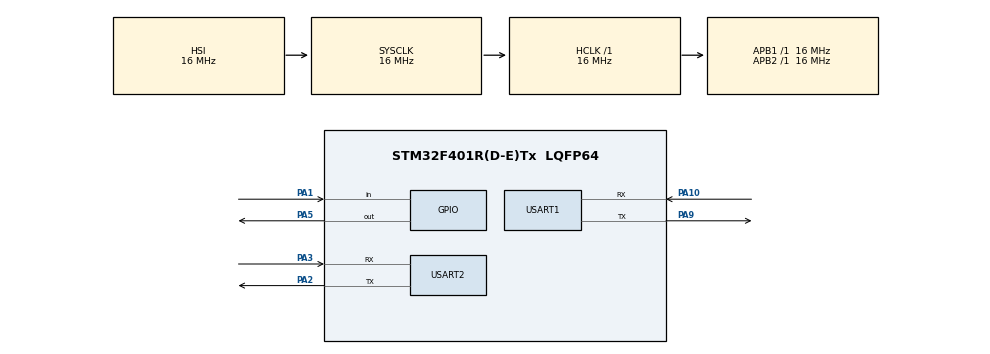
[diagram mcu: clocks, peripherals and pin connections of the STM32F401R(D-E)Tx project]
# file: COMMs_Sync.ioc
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Mcu.Family=STM32F4
Mcu.Name=STM32F401R(D-E)Tx
Mcu.Package=LQFP64
NVIC.PriorityGroup=NVIC_PRIORITYGROUP_4
PA1.Signal=GPIO_Input
PA10.Mode=Asynchronous
PA10.Signal=USART1_RX
PA2.Mode=Asynchronous
PA2.Signal=USART2_TX
PA3.Mode=Asynchronous
PA3.Signal=USART2_RX
PA5.Signal=GPIO_Output
PA9.Mode=Asynchronous
PA9.Signal=USART1_TX
ProjectManager.HeapSize=0x200
ProjectManager.StackSize=0x400
ProjectManager.TargetToolchain=SW4STM32
RCC.AHBFreq_Value=16000000
RCC.APB1Freq_Value=16000000
RCC.APB2Freq_Value=16000000
RCC.CortexFreq_Value=16000000
RCC.HSE_VALUE=25000000
RCC.HSI_VALUE=16000000
RCC.LSE_VALUE=32768
RCC.SYSCLKFreq_VALUE=16000000
RCC.VCOOutputFreq_Value=192000000
USART1.VirtualMode=VM_ASYNC
USART2.VirtualMode=VM_ASYNC
board=COMMs_Sync

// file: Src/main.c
/**
  ******************************************************************************
  * File Name          : main.c
  * Description        : Main program body
  ******************************************************************************
  ** This notice applies to any and all portions of this file
  * that are not between comment pairs USER CODE BEGIN and
  * USER CODE END. Other portions of this file, whether
  * inserted by the user or by software development tools
  * are owned by their respective copyright owners.
  *
  * COPYRIGHT(c) 2018 STMicroelectronics
  *
  * Redistribution and use in source and binary forms, with or without modification,
  * are permitted provided that the following conditions are met:
  *   1. Redistributions of source code must retain the above copyright notice,
  *      this list of conditions and the following disclaimer.
  *   2. Redistributions in binary form must reproduce the above copyright notice,
  *      this list of conditions and the following disclaimer in the documentation
  *      and/or other materials provided with the distribution.
  *   3. Neither the name of STMicroelectronics nor the names of its contributors
  *      may be used to endorse or promote products derived from this software
  *      without specific prior written permission.
  *
  * THIS SOFTWARE IS PROVIDED BY THE COPYRIGHT HOLDERS AND CONTRIBUTORS "AS IS"
  * AND ANY EXPRESS OR IMPLIED WARRANTIES, INCLUDING, BUT NOT LIMITED TO, THE
  * IMPLIED WARRANTIES OF MERCHANTABILITY AND FITNESS FOR A PARTICULAR PURPOSE ARE
  * DISCLAIMED. IN NO EVENT SHALL THE COPYRIGHT HOLDER OR CONTRIBUTORS BE LIABLE
  * FOR ANY DIRECT, INDIRECT, INCIDENTAL, SPECIAL, EXEMPLARY, OR CONSEQUENTIAL
  * DAMAGES (INCLUDING, BUT NOT LIMITED TO, PROCUREMENT OF SUBSTITUTE GOODS OR
  * SERVICES; LOSS OF USE, DATA, OR PROFITS; OR BUSINESS INTERRUPTION) HOWEVER
  * CAUSED AND ON ANY THEORY OF LIABILITY, WHETHER IN CONTRACT, STRICT LIABILITY,
  * OR TORT (INCLUDING NEGLIGENCE OR OTHERWISE) ARISING IN ANY WAY OUT OF THE USE
  * OF THIS SOFTWARE, EVEN IF ADVISED OF THE POSSIBILITY OF SUCH DAMAGE.
  *
  ******************************************************************************
  */
#include "main.h"
#include "stm32f4xx_hal.h"
#include <stdlib.h>
#include <string.h>

UART_HandleTypeDef huart1;
UART_HandleTypeDef huart2;

/* USER CODE BEGIN PV */
/* Private variables ---------------------------------------------------------*/

//Definition for boolean variables used in conditional statements
#define TRUE 1
#define FALSE 0

//Standard definition for data buffer
#define PACKET_SIZE 256 // bytes
#define BYTE_SIZE 8 // number of bits in a byte

//Timeout used in Serial communication transmitting and receiving
#define timeOut 0x0FFF

//Structure declaring board settings, allows each board to keep track of other boards.
struct board {
	uint8_t data[PACKET_SIZE];
	char letter;
}STM_A, STM_B, STM_C;

/* USER CODE END PV */

void SystemClock_Config(void);
static void MX_GPIO_Init(void);
static void MX_USART1_UART_Init(void);
static void MX_USART2_UART_Init(void);

/* USER CODE BEGIN PFP */
/* Private function prototypes -----------------------------------------------*/
#define CHECK_BIT(var,pos) ((var) & (1<<(pos)))
void printStringToConsole(uint8_t message[]);
void clearArray(uint8_t *buf);
void print_buffer(uint8_t *buf, int size);
uint8_t receive_packet(uint8_t *buf);
//uint8_t mram_packet(uint8_t *pointer, uint8_t *mram_pointer);
uint8_t check_start_protocol(uint8_t *buf);
void get_address(uint8_t *buf, uint8_t *adr);
void check_flag(uint8_t *buf, uint8_t *flg);
void get_lengthCommand(uint8_t *buf, uint8_t *len_command);
void save_data (uint8_t *buf, uint8_t *data, uint8_t *length_command);
void save_command (uint8_t * buf, uint8_t *data, uint8_t *len_command);
uint8_t parse_packet(uint8_t *buf, uint8_t *adr, uint8_t *flg, uint8_t *len_command, uint8_t *data, int packet_legnth);
/* USER CODE END PFP */

int main(void)
{

  /* MCU Configuration----------------------------------------------------------*/

  /* Reset of all peripherals, Initializes the Flash interface and the Systick. */
  HAL_Init();

  /* Configure the system clock */
  SystemClock_Config();

  /* Initialize all configured peripherals */
  MX_GPIO_Init();
  MX_USART1_UART_Init();
  MX_USART2_UART_Init();

  /* USER CODE BEGIN 2 */
  //Allocating 256 bytes of memory for received packets.
  uint8_t check;
  // COMMs_Sync Pointers
  uint8_t * address;
//  address = (uint8_t)1;
  uint8_t * c_d_flag;
//  c_d_flag = address + 1;
  uint8_t * length_command;
//  length_command = c_d_flag + 1;
  uint8_t * buffer;
//  buffer = length_command + 1;
  buffer = (uint8_t*) malloc (PACKET_SIZE);
  uint8_t * data;
//  data = 1000;
  data = (uint8_t*) malloc (PACKET_SIZE);
  // Start the program with the light turned off.
//  HAL_GPIO_WritePin(LD2_GPIO_Port, LD2_Pin, RESET);   /* USER CODE END 2 */

  /* Infinite loop */
  while (1)
  {
  /* USER CODE BEGIN 3 */
    check = receive_packet(buffer);
    // Turns on light if the receive packet function signals that it received a packet.
    if (check == 1) {
    	parse_packet(buffer, address, c_d_flag, length_command, data, PACKET_SIZE);
    	print_buffer(*address, 1);

    	break;
//      HAL_GPIO_WritePin(LD2_GPIO_Port, LD2_Pin, SET); // Note: had to manually configure the LD2 pin in the configuration part of this file.
    }

   // Template for main functionality and example for how this code will function.

  }
  /* USER CODE END 3 */

}

/** System Clock Configuration
*/
void SystemClock_Config(void)
{

  RCC_OscInitTypeDef RCC_OscInitStruct;
  RCC_ClkInitTypeDef RCC_ClkInitStruct;

    /**Configure the main internal regulator output voltage
    */
  __HAL_RCC_PWR_CLK_ENABLE();

  __HAL_PWR_VOLTAGESCALING_CONFIG(PWR_REGULATOR_VOLTAGE_SCALE2);

    /**Initializes the CPU, AHB and APB busses clocks
    */
  RCC_OscInitStruct.OscillatorType = RCC_OSCILLATORTYPE_HSI;
  RCC_OscInitStruct.HSIState = RCC_HSI_ON;
  RCC_OscInitStruct.HSICalibrationValue = 16;
  RCC_OscInitStruct.PLL.PLLState = RCC_PLL_NONE;
  if (HAL_RCC_OscConfig(&RCC_OscInitStruct) != HAL_OK)
  {
    _Error_Handler(__FILE__, __LINE__);
  }

    /**Initializes the CPU, AHB and APB busses clocks
    */
  RCC_ClkInitStruct.ClockType = RCC_CLOCKTYPE_HCLK|RCC_CLOCKTYPE_SYSCLK
                              |RCC_CLOCKTYPE_PCLK1|RCC_CLOCKTYPE_PCLK2;
  RCC_ClkInitStruct.SYSCLKSource = RCC_SYSCLKSOURCE_HSI;
  RCC_ClkInitStruct.AHBCLKDivider = RCC_SYSCLK_DIV1;
  RCC_ClkInitStruct.APB1CLKDivider = RCC_HCLK_DIV1;
  RCC_ClkInitStruct.APB2CLKDivider = RCC_HCLK_DIV1;

  if (HAL_RCC_ClockConfig(&RCC_ClkInitStruct, FLASH_LATENCY_0) != HAL_OK)
  {
    _Error_Handler(__FILE__, __LINE__);
  }

    /**Configure the Systick interrupt time
    */
  HAL_SYSTICK_Config(HAL_RCC_GetHCLKFreq()/1000);

    /**Configure the Systick
    */
  HAL_SYSTICK_CLKSourceConfig(SYSTICK_CLKSOURCE_HCLK);

  /* SysTick_IRQn interrupt configuration */
  HAL_NVIC_SetPriority(SysTick_IRQn, 0, 0);
}

/* USART1 init function */
static void MX_USART1_UART_Init(void)
{

  huart1.Instance = USART1;
  huart1.Init.BaudRate = 115200;
  huart1.Init.WordLength = UART_WORDLENGTH_8B;
  huart1.Init.StopBits = UART_STOPBITS_1;
  huart1.Init.Parity = UART_PARITY_NONE;
  huart1.Init.Mode = UART_MODE_TX_RX;
  huart1.Init.HwFlowCtl = UART_HWCONTROL_NONE;
  huart1.Init.OverSampling = UART_OVERSAMPLING_16;
  if (HAL_UART_Init(&huart1) != HAL_OK)
  {
    _Error_Handler(__FILE__, __LINE__);
  }

}

/* USART2 init function */
static void MX_USART2_UART_Init(void)
{

  huart2.Instance = USART2;
  huart2.Init.BaudRate = 115200;
  huart2.Init.WordLength = UART_WORDLENGTH_8B;
  huart2.Init.StopBits = UART_STOPBITS_1;
  huart2.Init.Parity = UART_PARITY_NONE;
  huart2.Init.Mode = UART_MODE_TX_RX;
  huart2.Init.HwFlowCtl = UART_HWCONTROL_NONE;
  huart2.Init.OverSampling = UART_OVERSAMPLING_16;
  if (HAL_UART_Init(&huart2) != HAL_OK)
  {
    _Error_Handler(__FILE__, __LINE__);
  }

}

/** Configure pins as
        * Analog
        * Input
        * Output
        * EVENT_OUT
        * EXTI
*/
static void MX_GPIO_Init(void)
{

  GPIO_InitTypeDef GPIO_InitStruct;

  /* GPIO Ports Clock Enable */
  __HAL_RCC_GPIOA_CLK_ENABLE();

  /*Configure GPIO pin Output Level */
  HAL_GPIO_WritePin(GPIOA, GPIO_PIN_5, GPIO_PIN_RESET);

  /*Configure GPIO pin : PA1 */
  GPIO_InitStruct.Pin = GPIO_PIN_1;
  GPIO_InitStruct.Mode = GPIO_MODE_INPUT;
  GPIO_InitStruct.Pull = GPIO_NOPULL;
  HAL_GPIO_Init(GPIOA, &GPIO_InitStruct);

  /*Configure GPIO pin : PA5 */
  GPIO_InitStruct.Pin = GPIO_PIN_5;
  GPIO_InitStruct.Mode = GPIO_MODE_OUTPUT_PP;
  GPIO_InitStruct.Pull = GPIO_NOPULL;
  GPIO_InitStruct.Speed = GPIO_SPEED_FREQ_LOW;
  HAL_GPIO_Init(GPIOA, &GPIO_InitStruct);

}

/* USER CODE BEGIN 4 */

// Description: Transmit a string over huart2. If solder bridges SB13 and SB14 are not removed,
//				this will transmit a message to the STLink chip and can be printed on a serial monitor
//				directly (such as the Arduino serial monitor). Otherwise, need to connect the huart2 pins to
// 				an Ardunio an receive the message from that end.
// Input: message to be transmitted
void print_string_to_console(char *message[]) {
	HAL_UART_Transmit(&huart2, (uint8_t*)message, strlen(message), timeOut);
}

// Description: This function writes null bytes to the buffer array passed to it
// Input: pointer to buffer that needs to be cleared
void clear_array(uint8_t *buf) {
	for (int i = 0; i < PACKET_SIZE; i++) {
		buf[i] = '\0';
	}
}

// Description: Uses the print_string_to_console function to print the contents
//        of the buffer to the serial monitor.
// Input: Pointer the to buffer to be printed and the length of the buffer
//      (number of char elements in the buffer)
void print_buffer(uint8_t *buf, int size) {
  char temp;
  for (uint8_t i = 0; i < size; i++) {
	temp = (char)*(buf + i);
    print_string_to_console(temp);
  }
}

// Description: Tries to receive a packet. If a packet is received, the function
//				saves the packet at the input pointer. Additionally, it returns 1 once
//        the packet has been saved. The function returns 0 if it is unable to
//				receive.
// Input: pointer to where the packet is to be saved
// Returns: Confirmation on successful reception of packet.
uint8_t receive_packet(uint8_t *buf) {
	// Creates temporary buffer for receiving the packet.
	uint8_t tempBuffer[PACKET_SIZE];
	clear_array(tempBuffer);
	// Saves the packet in the temporary buffer.
	if (HAL_UART_Receive(&huart1, tempBuffer, PACKET_SIZE, timeOut) == HAL_OK) {
		for (int i = 0; i < PACKET_SIZE; i += 1){
			*(buf + i) = tempBuffer[i];
		}
		return TRUE;
	}
	return FALSE;
}

//// Pulls a packet from the
//uint8_t mram_packet(uint8_t *pointer, uint8_t *mram_pointer) {
//
//}

// Description: Checks whether the packet follows the correct start bit
//        protocol.
// Input: Pointer to where the packet is stored.
uint8_t check_start_protocol(uint8_t *buf) {

	uint8_t holder[BYTE_SIZE];
  char buffer = *buf;
  for (int i = 7; 0 <= i; i --) {
    holder[7 - i] = ((buffer >> i) & 0x01);
  }
  if ((holder[0] == 0) && (holder[1] == 1) && (holder[2] == 1) &&
        (holder[3] == 0)) {
    return 1;
  }
  else {
    return 0;
  }
}

// Description: updates the address pointer with the value specified
// by the address field of the packet
//
// Input: pointer to where the packet is stored
void get_address(uint8_t *buf, uint8_t *adr) {
  uint8_t holder[BYTE_SIZE];
  uint8_t temp1 = *buf;
  for (int i = 7; 0 <= i; i --) {
    holder[7 - i] = ((temp1 >> i) & 0x01);
  }
  *adr = ((holder[4] * (4)) +
          (holder[5] * (2)) +
          (holder[6] * (1)));
}

// Description: updates the flag pointer with the value specified
// by the command/data flag field of the packet
//
// Input: pointer to where the packet is stored
void check_flag(uint8_t *buf, uint8_t *flg) {
  uint8_t holder[BYTE_SIZE];
  uint8_t temp1 = *buf;
  for (int i = 7; 0 <= i; i --) {
    holder[7 - i] = ((temp1 >> i) & 0x01);
  }
  *flg = holder[7];
}

// Description: updates the length_command pointer with the value specified
// by the length/command field of the packet
//
// Input: pointer to where the packet is stored
void get_lengthCommand(uint8_t *buf, uint8_t *len_command) {
  uint8_t holder[BYTE_SIZE];
  uint8_t temp = *(buf + 1);
  for (int i = 7; 0 <= i; i --) {
    holder[7 - i] = ((temp >> i) & 0x01);
  }
  *len_command = ((holder[0] * (128)) +
                  (holder[1] * (64)) +
                  (holder[2] * (32)) +
                  (holder[3] * (16)) +
                  (holder[4] * (8)) +
                  (holder[5] * (4)) +
                  (holder[6] * (2)) +
                  (holder[7] * (1)));
}

// Description: Saves what is in the payload field of the saved packet into the data
// pointer.
void save_data (uint8_t *buf, uint8_t *data, uint8_t *len_command) {
	for (int x = 0; x < *len_command; x++) {
		  *(data + x) = *(buf + 2 + x);
	  }
}

void save_command (uint8_t * buf, uint8_t *data, uint8_t *len_command) {

}

// Description: This function parses packets received from COMMs. Checks each of the overhead
// fields and updates each of the relevant pointers. Additionally, it updates the payload
// field.
//
// Input: pointer to where the packet is saved, and the length of the packet
// Output: returns 1 if the packets was properly parsed and returns 0 if there was an issue
uint8_t parse_packet(uint8_t *buf, uint8_t *adr, uint8_t *flg, uint8_t *len_command, uint8_t *data, int packet_legnth) {
	if (check_start_protocol(buf) == 0) {
		print_string_to_console("Incorrect start protocol.");
		return 0;
	}
	get_address(buf, adr);
	check_flag(buf, flg);
	get_lengthCommand(buf, len_command);
	if (*flg == 0) {
		save_command(buf, data, len_command);
	} else {
		save_data(buf, data, len_command);
	}
	return 1;
}

/* USER CODE END 4 */

void _Error_Handler(char * file, int line)
{
  while(1)
  {
  }
}

/************************ (C) COPYRIGHT STMicroelectronics *****END OF FILE****/
